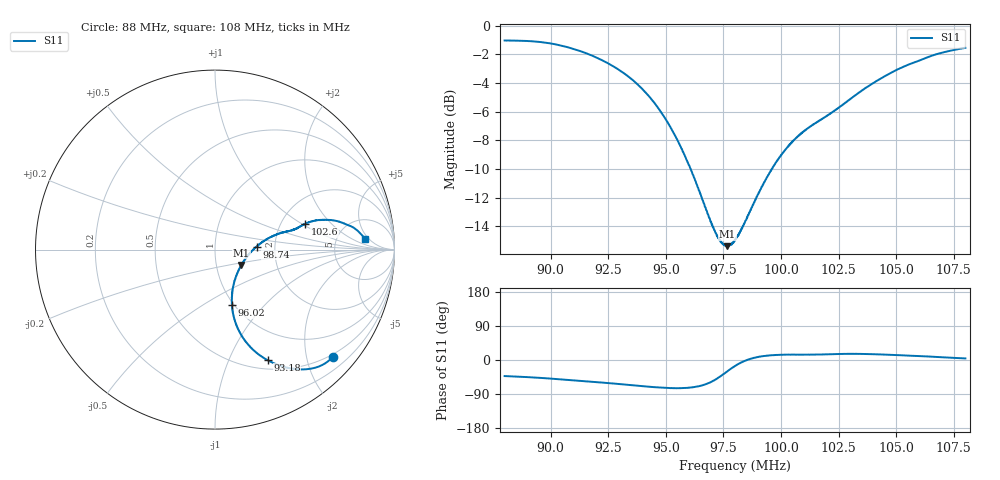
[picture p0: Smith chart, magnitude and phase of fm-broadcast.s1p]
! Calibrated averaged scanner-service zoom
# Hz S RI R 50
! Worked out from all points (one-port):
!   2001 points, 88 MHz to 108 MHz, reference 50 ohm
!   lowest |S11| = -15.4 dB at 97.66 MHz (marker M1), VSWR 1.41, Z = 66.1 - j11.6 ohm
!   |S11| at or under -10 dB: 96.07 MHz to 99.6 MHz (3.522 MHz wide, 3.6 % of centre)
!   S11 on the Smith chart (normalised r, x): 88 MHz: 0.44, -2.51; 93.18 MHz: 0.61, -1.40; 96.02 MHz: 0.98, -0.68; 98.74 MHz: 1.60, +0.06; 102.6 MHz: 2.71, +1.07; 108 MHz: 10, +4
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8.8e7  0.6557 -0.5989
8.927e7  0.6108 -0.6354
9.05e7  0.532 -0.6638
9.176e7  0.4267 -0.6634
9.3e7  0.3104 -0.625
9.318e7  0.2932 -0.6154
9.381e7  0.2311 -0.574
9.442e7  0.176 -0.518
9.498e7  0.1336 -0.4528
9.55e7  0.107 -0.3831
9.602e7  0.0952 -0.31
9.66e7  0.0989 -0.225
9.718e7  0.119 -0.1457
9.741e7  0.1323 -0.1157
9.766e7  0.147 -0.0851
9.8e7  0.1722 -0.0484
9.83e7  0.1945 -0.02
9.874e7  0.2318 0.0171
9.962e7  0.3095 0.0688
1.0001e8  0.3442 0.0847
1.005e8  0.3815 0.0958
1.011e8  0.4214 0.1059
1.0257e8  0.5027 0.1438
1.03e8  0.5325 0.1555
1.0425e8  0.6269 0.1652
1.055e8  0.715 0.1471
1.0682e8  0.7908 0.1081
1.08e8  0.8348 0.0612
